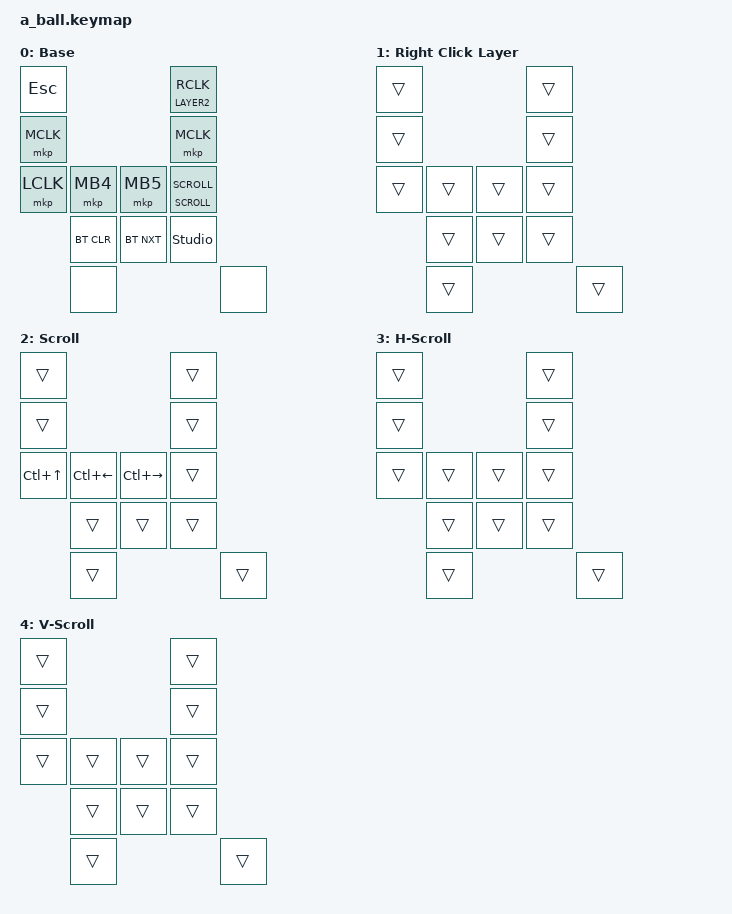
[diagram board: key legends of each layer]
#include <behaviors.dtsi>
#include <dt-bindings/zmk/keys.h>
#include <dt-bindings/zmk/bt.h>
#include <dt-bindings/zmk/outputs.h>
#include <dt-bindings/zmk/mouse.h>
#include <dt-bindings/zmk/ext_power.h>

#define BASE     0
#define LAYER2   1
#define SCROLL   2
#define H_SCROLL 3
#define V_SCROLL 4

// Mouse speed increased
#define ZMK_POINTING_DEFAULT_MOVE_VAL 1000  // default: 600
#define ZMK_POINTING_DEFAULT_SCRL_VAL 15    // default: 10

/ {
    behaviors {
        // Custom sticky-layer with a very long timeout: the built-in &sl
        // defaults to auto-releasing after ~1s. We want the scroll layer to
        // only ever clear on the next key press (its normal sticky behavior),
        // never on a timer, so the timeout here is set high enough to never
        // realistically fire.
        sticky_scroll: sticky_scroll {
            compatible = "zmk,behavior-sticky-key";
            #binding-cells = <1>;
            bindings = <&mo>;
            release-after-ms = <3600000>; // 1 hour - only a safety net, next keypress clears it first
        };

        // Hold key 8 to scroll only while held (&mo).
        // Tap it once to stick in scroll mode until the next key press.
        scroll_ht: scroll_ht {
            compatible = "zmk,behavior-hold-tap";
            #binding-cells = <2>;
            tapping-term-ms = <200>;
            flavor = "tap-preferred";
            bindings = <&mo>, <&sticky_scroll>;
        };

        // Hold key 2 for a momentary secondary layer, tap for a normal right click.
        rclick_lt: rclick_lt {
            compatible = "zmk,behavior-hold-tap";
            #binding-cells = <2>;
            tapping-term-ms = <200>;
            flavor = "tap-preferred";
            bindings = <&mo>, <&mkp>;
        };
    };

    combos {
        compatible = "zmk,combos";

        // Left Click (5) + Scroll (8) held together -> momentary V-Scroll
        combo_vscroll {
            timeout-ms = <50>;
            key-positions = <4 7>;
            bindings = <&mo V_SCROLL>;
        };

        // Back/MB4 (6) + Scroll (8) held together -> momentary H-Scroll
        combo_hscroll {
            timeout-ms = <50>;
            key-positions = <5 7>;
            bindings = <&mo H_SCROLL>;
        };
    };

    keymap {
        compatible = "zmk,keymap";

        // Physical key positions, left to right / top to bottom:
        //
        //    1                    2
        //    3      /* Ball */    4
        //    5   6            7   8
        //        9    10   11
        //       12          13
        //
        // 1 ESC  2 tap=Right Click, hold=Right Click Layer (transparent, for future use)
        // 3/4 Middle Click  5 Left Click
        // 6 Back (MB4)  7 Forward (MB5)  8 Scroll (hold = momentary, tap = sticky)
        // 9 BT Reset  10 BT Next  11 Studio Unlock
        // 12/13 slide switches — unused, always &none
        //
        // Scroll layer overrides: 5 = Ctrl+Up, 6 = Ctrl+Left, 7 = Ctrl+Right
        //
        // Layers, in order: Base(0) / Right Click Layer(1) / Scroll(2) /
        // H-Scroll(3, horizontal-only) / V-Scroll(4, vertical-only) /
        // extra3-8 reserved for whatever you add via Studio next.

        base {
            display-name = "Base";
            bindings = <
        &kp ESC                        &rclick_lt LAYER2 RCLK
        &mkp MCLK                      &mkp MCLK
        &mkp LCLK  &mkp MB4  &mkp MB5  &scroll_ht SCROLL SCROLL
                   &bt BT_CLR  &bt BT_NXT  &studio_unlock
                   &none                       &none
            >;
        };

        rclick_layer {
            display-name = "Right Click Layer";
            bindings = <
        &trans  &trans
        &trans  &trans
        &trans  &trans  &trans  &trans
                &trans  &trans  &trans
                &trans          &trans
            >;
        };

        scroll {
            display-name = "Scroll";
            bindings = <
        &trans      &trans
        &trans      &trans
        &kp LC(UP)  &kp LC(LEFT)  &kp LC(RIGHT)  &trans
                    &trans  &trans  &trans
                    &trans          &trans
            >;
        };

        // Ball behavior for these two is pre-wired in the overlay: this
        // layer locks scrolling to horizontal only, Y hard-zeroed.
        h_scroll {
            display-name = "H-Scroll";
            bindings = <
        &trans  &trans
        &trans  &trans
        &trans  &trans  &trans  &trans
                &trans  &trans  &trans
                &trans          &trans
            >;
        };

        // Locks scrolling to vertical only, Y hard-zeroed in the overlay.
        v_scroll {
            display-name = "V-Scroll";
            bindings = <
        &trans  &trans
        &trans  &trans
        &trans  &trans  &trans  &trans
                &trans  &trans  &trans
                &trans          &trans
            >;
        };

        extra3 {status = "reserved";};
        extra4 {status = "reserved";};
        extra5 {status = "reserved";};
        extra6 {status = "reserved";};
        extra7 {status = "reserved";};
        extra8  {status = "reserved";};

    };
};
